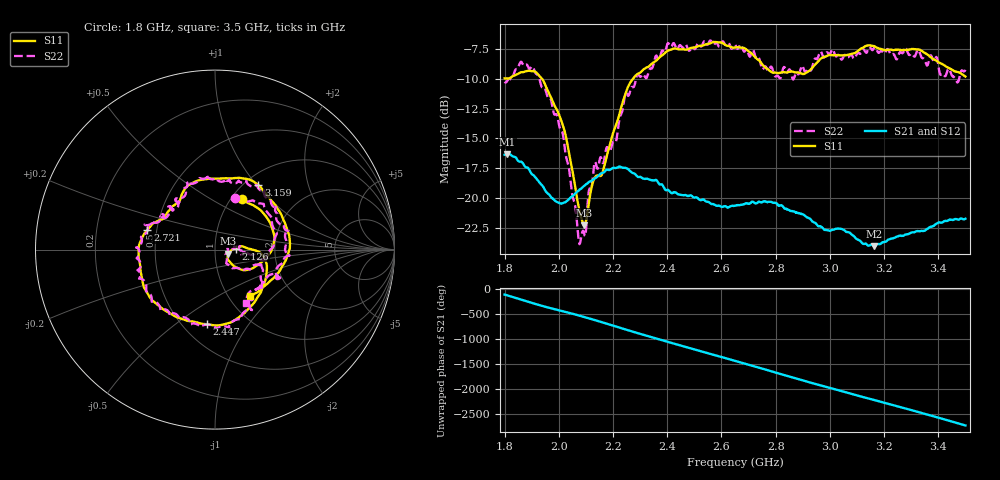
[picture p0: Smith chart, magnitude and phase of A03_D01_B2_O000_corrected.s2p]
! Created with skrf 1.9.0 (http://scikit-rf.org).
# Hz S RI R 50.0
!freq ReS11 ImS11 ReS21 ImS21 ReS12 ImS12 ReS22 ImS22
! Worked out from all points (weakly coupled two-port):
!   1601 points, 1.8 GHz to 3.5 GHz, reference 50 ohm
!   highest |S21| = -16.31 dB at 1.81 GHz (marker M1); lowest = -24.0 dB at 3.163 GHz (marker M2)
!   lowest |S11| = -22.2 dB at 2.094 GHz (marker M3), VSWR 1.17, Z = 57.9 - j2.7 ohm
!   |S11| at or under -10 dB: 1.937 GHz to 2.274 GHz (336.7 MHz wide, 16 % of centre)
!   |S22| runs from -23.8 to -6.8 dB; largest |S21 - S12| = 0.0031
!   S11 on the Smith chart (normalised r, x): 1.8 GHz: 1.12, +0.70; 2.126 GHz: 1.26, +0.01; 2.447 GHz: 0.65, -0.66; 2.721 GHz: 0.44, +0.12; 3.159 GHz: 1.15, +1.02; 3.5 GHz: 1.26, -0.72
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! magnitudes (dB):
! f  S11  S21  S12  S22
! 1.8 GHz  -10.0  -16.4  -16.4  -10.3
! 1.81 GHz  -10.0  -16.3  -16.3  -10.2
! 1.902 GHz  -9.4  -18.0  -18.0  -9.0
! 1.968 GHz  -11.4  -19.8  -19.8  -11.6
! 2.021 GHz  -14.4  -20.4  -20.4  -15.7
! 2.072 GHz  -20.6  -19.4  -19.4  -23.2
! 2.084 GHz  -21.7  -19.2  -19.1  -23.1
! 2.094 GHz  -22.2  -18.9  -19.0  -23.0
! 2.126 GHz  -18.6  -18.5  -18.5  -18.0
! 2.161 GHz  -17.9  -17.9  -17.8  -17.0
! 2.208 GHz  -14.0  -17.5  -17.4  -15.3
! 2.26 GHz  -10.5  -17.7  -17.7  -11.3
! 2.367 GHz  -8.3  -18.7  -18.7  -8.4
! 2.447 GHz  -7.6  -19.7  -19.7  -7.2
! 2.65 GHz  -7.4  -20.6  -20.6  -7.2
! 2.721 GHz  -8.1  -20.4  -20.3  -7.8
! 2.81 GHz  -9.5  -20.6  -20.5  -9.8
! 2.934 GHz  -9.1  -21.9  -21.9  -9.1
! 3.159 GHz  -7.3  -24.0  -23.9  -7.6
! 3.163 GHz  -7.3  -24.0  -24.0  -7.4
! 3.217 GHz  -7.6  -23.4  -23.4  -7.6
! 3.5 GHz  -9.8  -21.7  -21.7  -9.3
